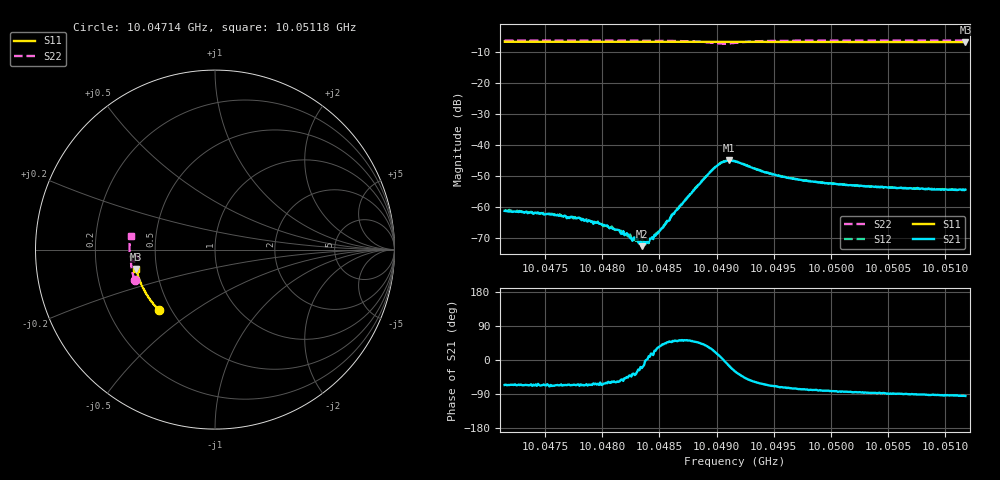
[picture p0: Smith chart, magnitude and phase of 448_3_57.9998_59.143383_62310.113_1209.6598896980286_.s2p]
#  HZ  S  RI  R  50.00
! Rohde & Schwarz Vector Network Analyzer
! Rohde-Schwarz,ZNB20-2Port,1311601062101988,3.16
! Created: UTC 3/21/2024, 1:10:21 AM
! freq[Hz]  re:S11  im:S11  re:S21  im:S21  re:S12  im:S12  re:S22  im:S22
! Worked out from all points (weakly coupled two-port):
!   401 points, 10.04714 GHz to 10.05118 GHz, reference 50 ohm
!   highest |S21| = -45.03 dB at 10.04911 GHz (marker M1); lowest = -72.6 dB at 10.04834 GHz (marker M2)
!   lowest |S11| = -6.9 dB at 10.05118 GHz (marker M3), VSWR 2.65, Z = 19.1 - j5.17 ohm
!   |S11| at or under -10 dB: nowhere
!   |S22| runs from -7.4 to -6.4 dB; largest |S21 - S12| = 0.0004
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1.0047144e10  -0.3125 -0.3364  0.000354 -0.000788  0.000429 -0.000783  -0.4478 -0.1714
1.0047558e10  -0.3314 -0.3164  0.000278 -0.000704  0.000385 -0.000677  -0.4564 -0.1446
1.004782e10  -0.3428 -0.3033  0.000243 -0.00056  0.000316 -0.000563  -0.461 -0.1269
1.0047951e10  -0.3481 -0.2967  0.000239 -0.000506  0.000296 -0.000468  -0.4629 -0.1178
1.0048133e10  -0.3556 -0.2872  0.000237 -0.000357  0.000285 -0.000334  -0.4652 -0.1048
1.0048183e10  -0.3576 -0.2846  0.000234 -0.000336  0.00028 -0.000284  -0.4659 -0.101
1.0048203e10  -0.3583 -0.2836  0.000243 -0.00027  0.000272 -0.000262  -0.4659 -0.0995
1.0048254e10  -0.3603 -0.2808  0.000228 -0.000216  0.000263 -0.000177  -0.4665 -0.0956
1.0048294e10  -0.3619 -0.2787  0.000242 -0.000183  0.000238 -0.000154  -0.4668 -0.0925
1.0048344e10  -0.3638 -0.276  0.000217 -8.57e-05  0.000288 -9.57e-05  -0.4672 -0.0886
1.0048385e10  -0.3654 -0.274  0.000261 9.48e-07  0.000273 8.16e-06  -0.4673 -0.0854
1.0048425e10  -0.3669 -0.2718  0.000294 8.91e-05  0.000299 9.74e-05  -0.4676 -0.082
1.0048496e10  -0.3694 -0.2678  0.000332 0.000226  0.000335 0.000231  -0.4675 -0.076
1.0048748e10  -0.3785 -0.2539  0.000902 0.00113  0.000837 0.00117  -0.4629 -0.0518
1.0048959e10  -0.3856 -0.2421  0.00342 0.00183  0.00333 0.00205  -0.4387 -0.035
1.004904e10  -0.3881 -0.2375  0.00515 0.000577  0.00508 0.000878  -0.425 -0.0444
1.0049111e10  -0.3903 -0.2338  0.00539 -0.00152  0.00549 -0.00119  -0.4257 -0.06
1.0049161e10  -0.392 -0.2308  0.0047 -0.0027  0.00493 -0.0024  -0.4338 -0.0673
1.0049514e10  -0.4029 -0.2105  0.00119 -0.00308  0.00137 -0.003  -0.4698 -0.0428
1.0049837e10  -0.4119 -0.1911  0.000488 -0.00253  0.000633 -0.00252  -0.4752 -0.0155
1.0050512e10  -0.4276 -0.1498  2.65e-05 -0.00206  0.000166 -0.00206  -0.4752 0.0336
1.0051178e10  -0.439 -0.1077  -0.000162 -0.0019  -5.04e-05 -0.00189  -0.4697 0.0785
